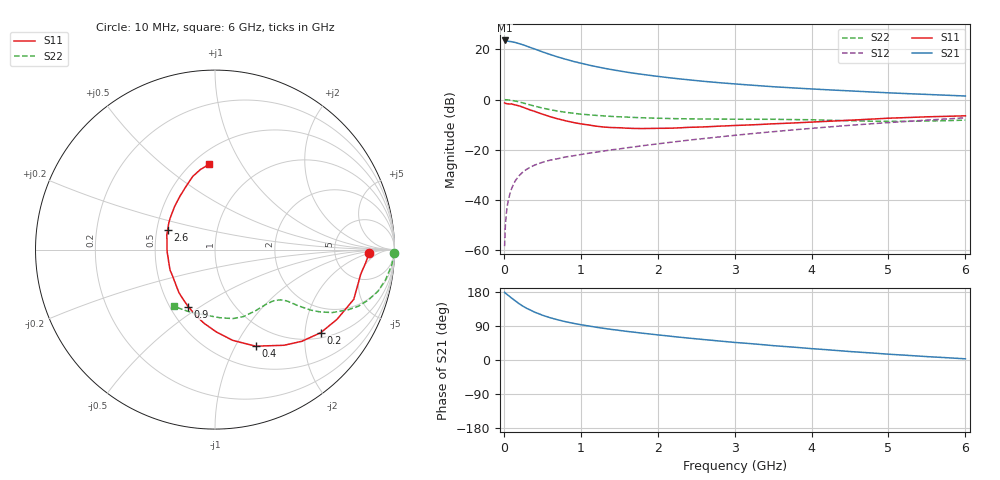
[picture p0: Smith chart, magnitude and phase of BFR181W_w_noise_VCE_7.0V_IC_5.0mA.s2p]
! Infineon Technologies  Discrete & RF Semiconductors
! BFR181W
! VCE =  7.0 V,  IC =  5.0 mA
! Common Emitter S-Parameters:  Jan 2017
# GHz  S  MA  R  50
!  f  S11  S21  S12  S22
! GHz  MAG  ANG  MAG  ANG  MAG  ANG  MAG  ANG
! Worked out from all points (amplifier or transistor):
!   77 points, 10 MHz to 6 GHz, reference 50 ohm
!   highest |S21| = 23.6 dB at 10 MHz (marker M1)
!   |S21| within 3 dB of that: start of sweep to 363.4 MHz
!   unconditionally stable (mu >= 1): 1.364 GHz to 3.397 GHz
!   at 130 MHz: K = 0.16, MSG = 28.2 dB, |S12| = -33.5 dB
!   at 2.2 GHz: K = 1.08, MAG = 11.0 dB, |S12| = -16.9 dB
!   at 6 GHz: K = 0.85, MSG = 4.3 dB, |S12| = -7.3 dB
!   lowest NFmin = 0.97 dB at 450 MHz
!   S11 on the Smith chart (normalised r, x): 10 MHz: 13, -2; 200 MHz: 1.15, -2.42; 400 MHz: 0.74, -1.21; 900 MHz: 0.62, -0.45; 2.6 GHz: 0.57, +0.14; 6 GHz: 0.60, +0.73
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0.01  0.8608 -1.1  15.1 178.7  0.0012 89.3  0.9977 -1.0
0.02  0.8417 -5.2  14.89 176.3  0.0031 87.8  0.9953 -1.8
0.04  0.8287 -8.2  14.74 173.2  0.0067 84.2  0.9904 -3.9
0.1  0.8214 -19.7  14.27 163.5  0.0166 81.0  0.9653 -10.0
0.15  0.7831 -29.7  13.74 155.9  0.0243 74.9  0.9366 -14.4
0.2  0.7495 -38.1  13.03 148.4  0.0306 72.0  0.8984 -18.3
0.25  0.7039 -46.5  12.36 141.8  0.0364 67.8  0.858 -21.6
0.3  0.6573 -54.2  11.59 136.0  0.0412 64.4  0.8159 -24.2
0.4  0.5836 -67.2  10.22 126.2  0.0495 60.2  0.7422 -28.2
0.5  0.5145 -79.1  8.957 118.3  0.0562 57.6  0.6797 -30.7
0.6  0.4581 -89.2  7.944 111.7  0.0621 56.4  0.6304 -32.3
0.7  0.4141 -98.7  7.081 106.1  0.0664 55.6  0.5907 -33.2
0.9  0.3511 -115.1  5.802 96.9  0.0758 55.8  0.5354 -34.5
1.1  0.3128 -130.0  4.902 89.9  0.0852 57.2  0.4995 -35.3
1.3  0.2841 -143.4  4.229 83.5  0.0945 58.1  0.4734 -36.6
1.6  0.2693 -161.3  3.521 75.5  0.1096 59.6  0.4485 -38.9
2.1  0.2684 175.1  2.786 64.2  0.137 61.0  0.4221 -44.9
2.6  0.2859 157.3  2.313 53.9  0.1675 61.2  0.4106 -52.6
3.1  0.3087 142.6  2.002 44.9  0.201 60.1  0.406 -60.5
4.1  0.3625 121.1  1.601 28.6  0.2752 55.5  0.3928 -77.4
5.1  0.4312 105.5  1.345 14.1  0.3565 48.4  0.368 -101.9
6  0.4756 94.0  1.18 3.1  0.4334 40.4  0.3906 -126.0
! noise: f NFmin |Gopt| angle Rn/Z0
0.45  0.97  0.33  16  0.23
0.9  1.03  0.3  30  0.23
1.9  1.44  0.15  80  0.2
2.4  1.59  0.13  94  0.22
